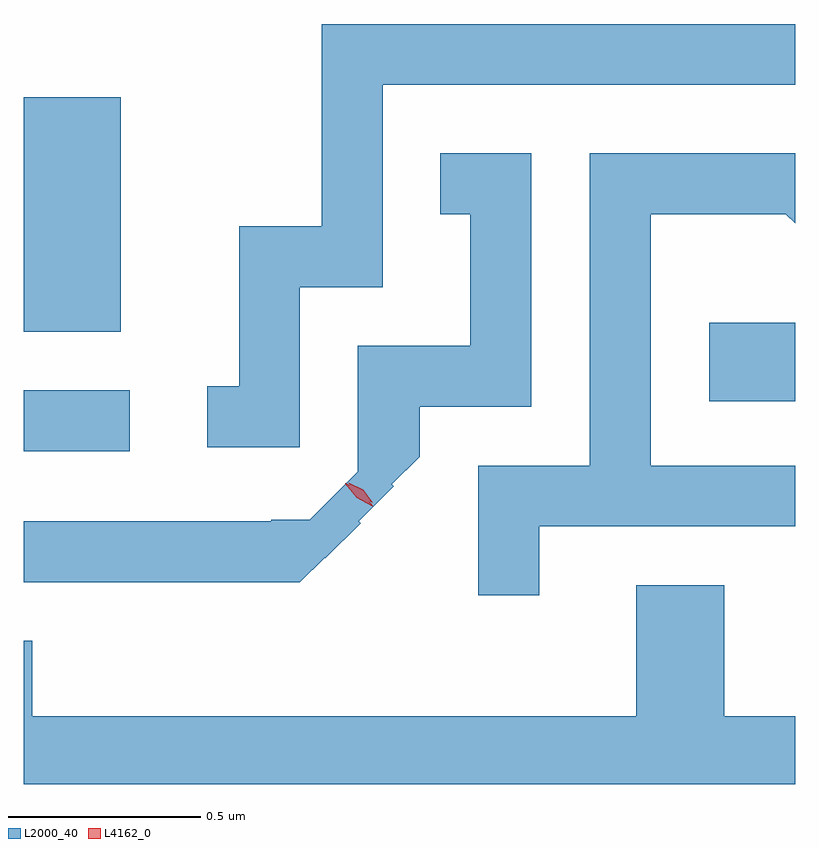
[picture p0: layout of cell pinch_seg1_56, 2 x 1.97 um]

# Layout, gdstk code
import gdstk
lib = gdstk.Library(unit=1e-6, precision=1e-09)
def R(c, l, rs):  # rectangles x0, y0, x1, y1
    for r in rs: c.add(gdstk.rectangle(r[:2], r[2:], *l))
def P(c, l, *ps):  # polygons
    for p in ps: c.add(gdstk.Polygon(p, *l))
L2000_40 = (2000, 40)
L4162_0 = (4162, 0)

pinch_seg1_56 = lib.new_cell('pinch_seg1_56')
R(pinch_seg1_56, L2000_40, [(1404.453,858.351,1404.728,858.509), (1406.231,858.481,1406.453,858.684), (1404.453,858.661,1404.704,859.269)])
P(pinch_seg1_56, L2000_40, [(1405.169,858.776),(1405.384,858.776),(1405.384,859.301),(1406.453,859.301),(1406.453,859.459),(1405.226,859.459),(1405.226,858.934),(1405.011,858.934),(1405.011,858.519),(1404.928,858.519),(1404.928,858.361),(1405.169,858.361)],
  [(1405.789,858.156),(1406.453,858.156),(1406.453,858.314),(1406.079,858.314),(1406.079,858.966),(1406.429,858.966),(1406.453,858.942),(1406.453,859.124),(1405.921,859.124),(1405.921,858.314),(1405.631,858.314),(1405.631,857.978),(1405.789,857.978)],
  [(1405.233,858.075),(1405.235,858.074),(1405.326,858.164),(1405.321,858.169),(1405.412,858.26),(1405.407,858.265),(1405.479,858.337),(1405.479,858.466),(1405.769,858.466),(1405.769,859.124),(1405.533,859.124),(1405.533,858.966),(1405.611,858.966),(1405.611,858.624),(1405.319,858.624),(1405.319,858.298),(1405.194,858.173),(1405.095,858.173),(1405.095,858.169),(1404.453,858.169),(1404.453,858.011),(1405.169,858.011)],
  [(1406.453,857.664),(1406.269,857.664),(1406.269,858.004),(1406.041,858.004),(1406.041,857.664),(1404.474,857.664),(1404.474,857.859),(1404.453,857.859),(1404.453,857.488),(1406.453,857.488)])
P(pinch_seg1_56, L4162_0, [(1405.358,858.217),(1405.32,858.235),(1405.295,858.268),(1405.295,858.269),(1405.296,858.269),(1405.333,858.251),(1405.358,858.218),(1405.358,858.217)],
  [(1405.357,858.208),(1405.316,858.23),(1405.287,858.267),(1405.287,858.268),(1405.288,858.268),(1405.329,858.246),(1405.358,858.209),(1405.358,858.208)])

lib.write_gds('pinch_seg1_56.gds')
